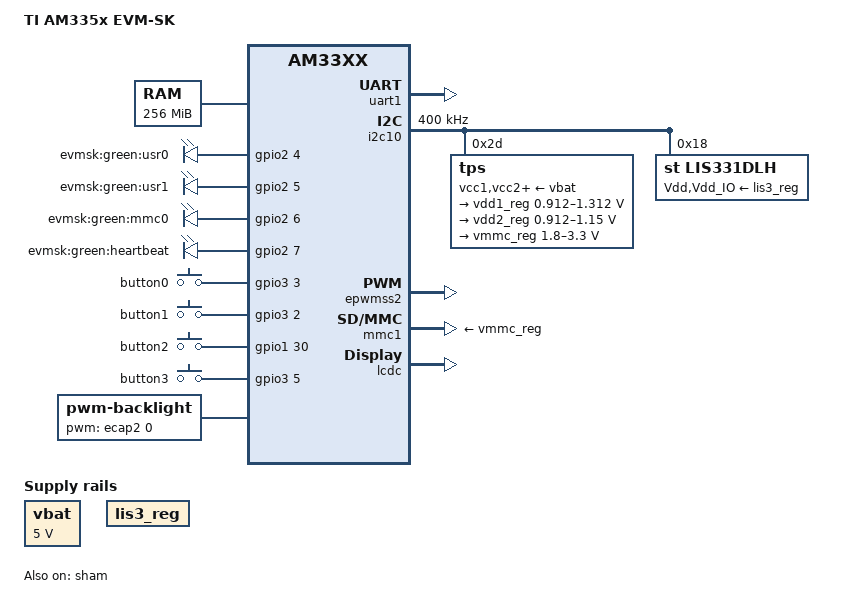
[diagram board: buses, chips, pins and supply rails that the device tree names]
/*
 * Copyright (C) 2012 Texas Instruments Incorporated - http://www.ti.com/
 *
 * This program is free software; you can redistribute it and/or modify
 * it under the terms of the GNU General Public License version 2 as
 * published by the Free Software Foundation.
 */

/*
 * AM335x Starter Kit
 * http://www.ti.com/tool/tmdssk3358
 */

/dts-v1/;

/include/ "am33xx.dtsi"

/ {
	model = "TI AM335x EVM-SK";
	compatible = "ti,am335x-evmsk", "ti,am33xx";

	cpus {
		cpu@0 {
			cpu0-supply = <&vdd1_reg>;
		};
	};

	memory {
		device_type = "memory";
		reg = <0x80000000 0x10000000>; /* 256 MB */
	};

	am33xx_pinmux: pinmux@44e10800 {
		pinctrl-names = "default";
		pinctrl-0 = <&user_leds_s0 &gpio_keys_s0 &lcd_pins_s0>;

		user_leds_s0: user_leds_s0 {
			pinctrl-single,pins = <
				0x10 0x7	/* gpmc_ad4.gpio1_4, OUTPUT | MODE7 */
				0x14 0x7	/* gpmc_ad5.gpio1_5, OUTPUT | MODE7 */
				0x18 0x7	/* gpmc_ad6.gpio1_6, OUTPUT | MODE7 */
				0x1c 0x7	/* gpmc_ad7.gpio1_7, OUTPUT | MODE7 */
			>;
		};

		gpio_keys_s0: gpio_keys_s0 {
			pinctrl-single,pins = <
				0x94 0x27	/* gpmc_oen_ren.gpio2_3, INPUT | MODE7 */
				0x90 0x27	/* gpmc_advn_ale.gpio2_2, INPUT | MODE7 */
				0x70 0x27	/* gpmc_wait0.gpio0_30, INPUT | MODE7 */
				0x9c 0x27	/* gpmc_ben0_cle.gpio2_5, INPUT | MODE7 */
			>;
		};

		lcd_pins_s0: lcd_pins_s0 {
			pinctrl-single,pins = <
				0x20 0x01	/* gpmc_ad8.lcd_data16, OUTPUT | MODE1 */
				0x24 0x01	/* gpmc_ad9.lcd_data17, OUTPUT | MODE1 */
				0x28 0x01	/* gpmc_ad10.lcd_data18, OUTPUT | MODE1 */
				0x2c 0x01	/* gpmc_ad11.lcd_data19, OUTPUT | MODE1 */
				0x30 0x01	/* gpmc_ad12.lcd_data20, OUTPUT | MODE1 */
				0x34 0x01	/* gpmc_ad13.lcd_data21, OUTPUT | MODE1 */
				0x38 0x01	/* gpmc_ad14.lcd_data22, OUTPUT | MODE1 */
				0x3c 0x01	/* gpmc_ad15.lcd_data23, OUTPUT | MODE1 */
				0xa0 0x00	/* lcd_data0.lcd_data0, OUTPUT | MODE0 */
				0xa4 0x00	/* lcd_data1.lcd_data1, OUTPUT | MODE0 */
				0xa8 0x00	/* lcd_data2.lcd_data2, OUTPUT | MODE0 */
				0xac 0x00	/* lcd_data3.lcd_data3, OUTPUT | MODE0 */
				0xb0 0x00	/* lcd_data4.lcd_data4, OUTPUT | MODE0 */
				0xb4 0x00	/* lcd_data5.lcd_data5, OUTPUT | MODE0 */
				0xb8 0x00	/* lcd_data6.lcd_data6, OUTPUT | MODE0 */
				0xbc 0x00	/* lcd_data7.lcd_data7, OUTPUT | MODE0 */
				0xc0 0x00	/* lcd_data8.lcd_data8, OUTPUT | MODE0 */
				0xc4 0x00	/* lcd_data9.lcd_data9, OUTPUT | MODE0 */
				0xc8 0x00	/* lcd_data10.lcd_data10, OUTPUT | MODE0 */
				0xcc 0x00	/* lcd_data11.lcd_data11, OUTPUT | MODE0 */
				0xd0 0x00	/* lcd_data12.lcd_data12, OUTPUT | MODE0 */
				0xd4 0x00	/* lcd_data13.lcd_data13, OUTPUT | MODE0 */
				0xd8 0x00	/* lcd_data14.lcd_data14, OUTPUT | MODE0 */
				0xdc 0x00	/* lcd_data15.lcd_data15, OUTPUT | MODE0 */
				0xe0 0x00	/* lcd_vsync.lcd_vsync, OUTPUT | MODE0 */
				0xe4 0x00	/* lcd_hsync.lcd_hsync, OUTPUT | MODE0 */
				0xe8 0x00	/* lcd_pclk.lcd_pclk, OUTPUT | MODE0 */
				0xec 0x00	/* lcd_ac_bias_en.lcd_ac_bias_en, OUTPUT | MODE0 */
			>;
		};

		ecap2_pins: backlight_pins {
			pinctrl-single,pins = <
				0x19c 0x4	/* mcasp0_ahclkr.ecap2_in_pwm2_out MODE4 */
			>;
		};
	};

	ocp {
		uart1: serial@44e09000 {
			status = "okay";
		};

		i2c10: i2c@44e0b000 {
			status = "okay";
			clock-frequency = <400000>;

			tps: tps@2d {
				reg = <0x2d>;
			};

			lis331dlh: lis331dlh@18 {
				compatible = "st,lis331dlh", "st,lis3lv02d";
				reg = <0x18>;
				Vdd-supply = <&lis3_reg>;
				Vdd_IO-supply = <&lis3_reg>;

				st,click-single-x;
				st,click-single-y;
				st,click-single-z;
				st,click-thresh-x = <10>;
				st,click-thresh-y = <10>;
				st,click-thresh-z = <10>;
				st,irq1-click;
				st,irq2-click;
				st,wakeup-x-lo;
				st,wakeup-x-hi;
				st,wakeup-y-lo;
				st,wakeup-y-hi;
				st,wakeup-z-lo;
				st,wakeup-z-hi;
				st,min-limit-x = <120>;
				st,min-limit-y = <120>;
				st,min-limit-z = <140>;
				st,max-limit-x = <550>;
				st,max-limit-y = <550>;
				st,max-limit-z = <750>;
			};
		};

		epwmss2: epwmss@48304000 {
			status = "okay";

			ecap2: ecap@48304100 {
				status = "okay";
				pinctrl-names = "default";
				pinctrl-0 = <&ecap2_pins>;
			};
		};
	};

	vbat: fixedregulator@0 {
		compatible = "regulator-fixed";
		regulator-name = "vbat";
		regulator-min-microvolt = <5000000>;
		regulator-max-microvolt = <5000000>;
		regulator-boot-on;
	};

	lis3_reg: fixedregulator@1 {
		compatible = "regulator-fixed";
		regulator-name = "lis3_reg";
		regulator-boot-on;
	};

	leds {
		compatible = "gpio-leds";

		led@1 {
			label = "evmsk:green:usr0";
			gpios = <&gpio2 4 0>;
			default-state = "off";
		};

		led@2 {
			label = "evmsk:green:usr1";
			gpios = <&gpio2 5 0>;
			default-state = "off";
		};

		led@3 {
			label = "evmsk:green:mmc0";
			gpios = <&gpio2 6 0>;
			linux,default-trigger = "mmc0";
			default-state = "off";
		};

		led@4 {
			label = "evmsk:green:heartbeat";
			gpios = <&gpio2 7 0>;
			linux,default-trigger = "heartbeat";
			default-state = "off";
		};
	};

	gpio_buttons: gpio_buttons@0 {
		compatible = "gpio-keys";
		#address-cells = <1>;
		#size-cells = <0>;

		switch@1 {
			label = "button0";
			linux,code = <0x100>;
			gpios = <&gpio3 3 0>;
		};

		switch@2 {
			label = "button1";
			linux,code = <0x101>;
			gpios = <&gpio3 2 0>;
		};

		switch@3 {
			label = "button2";
			linux,code = <0x102>;
			gpios = <&gpio1 30 0>;
			gpio-key,wakeup;
		};

		switch@4 {
			label = "button3";
			linux,code = <0x103>;
			gpios = <&gpio3 5 0>;
		};
	};

	backlight {
		compatible = "pwm-backlight";
		pwms = <&ecap2 0 50000 1>;
		brightness-levels = <0 58 61 66 75 90 125 170 255>;
		default-brightness-level = <8>;
	};
};

/include/ "tps65910.dtsi"

&tps {
	vcc1-supply = <&vbat>;
	vcc2-supply = <&vbat>;
	vcc3-supply = <&vbat>;
	vcc4-supply = <&vbat>;
	vcc5-supply = <&vbat>;
	vcc6-supply = <&vbat>;
	vcc7-supply = <&vbat>;
	vccio-supply = <&vbat>;

	regulators {
		vrtc_reg: regulator@0 {
			regulator-always-on;
		};

		vio_reg: regulator@1 {
			regulator-always-on;
		};

		vdd1_reg: regulator@2 {
			/* VDD_MPU voltage limits 0.95V - 1.26V with +/-4% tolerance */
			regulator-name = "vdd_mpu";
			regulator-min-microvolt = <912500>;
			regulator-max-microvolt = <1312500>;
			regulator-boot-on;
			regulator-always-on;
		};

		vdd2_reg: regulator@3 {
			/* VDD_CORE voltage limits 0.95V - 1.1V with +/-4% tolerance */
			regulator-name = "vdd_core";
			regulator-min-microvolt = <912500>;
			regulator-max-microvolt = <1150000>;
			regulator-boot-on;
			regulator-always-on;
		};

		vdd3_reg: regulator@4 {
			regulator-always-on;
		};

		vdig1_reg: regulator@5 {
			regulator-always-on;
		};

		vdig2_reg: regulator@6 {
			regulator-always-on;
		};

		vpll_reg: regulator@7 {
			regulator-always-on;
		};

		vdac_reg: regulator@8 {
			regulator-always-on;
		};

		vaux1_reg: regulator@9 {
			regulator-always-on;
		};

		vaux2_reg: regulator@10 {
			regulator-always-on;
		};

		vaux33_reg: regulator@11 {
			regulator-always-on;
		};

		vmmc_reg: regulator@12 {
			regulator-min-microvolt = <1800000>;
			regulator-max-microvolt = <3300000>;
			regulator-always-on;
		};
	};
};

&mmc1 {
	status = "okay";
	vmmc-supply = <&vmmc_reg>;
};

&lcdc {
	status = "okay";

	display-timings {
		480x272p57 {
			clock-frequency = <9000000>;
			hactive = <480>;
			vactive = <272>;
			hfront-porch = <8>;
			hback-porch = <43>;
			hsync-len = <4>;
			vback-porch = <12>;
			vfront-porch = <4>;
			vsync-len = <10>;
			hsync-active = <1>;
			vsync-active = <1>;
		};
	};
};

&sham {
	status = "okay";
};
